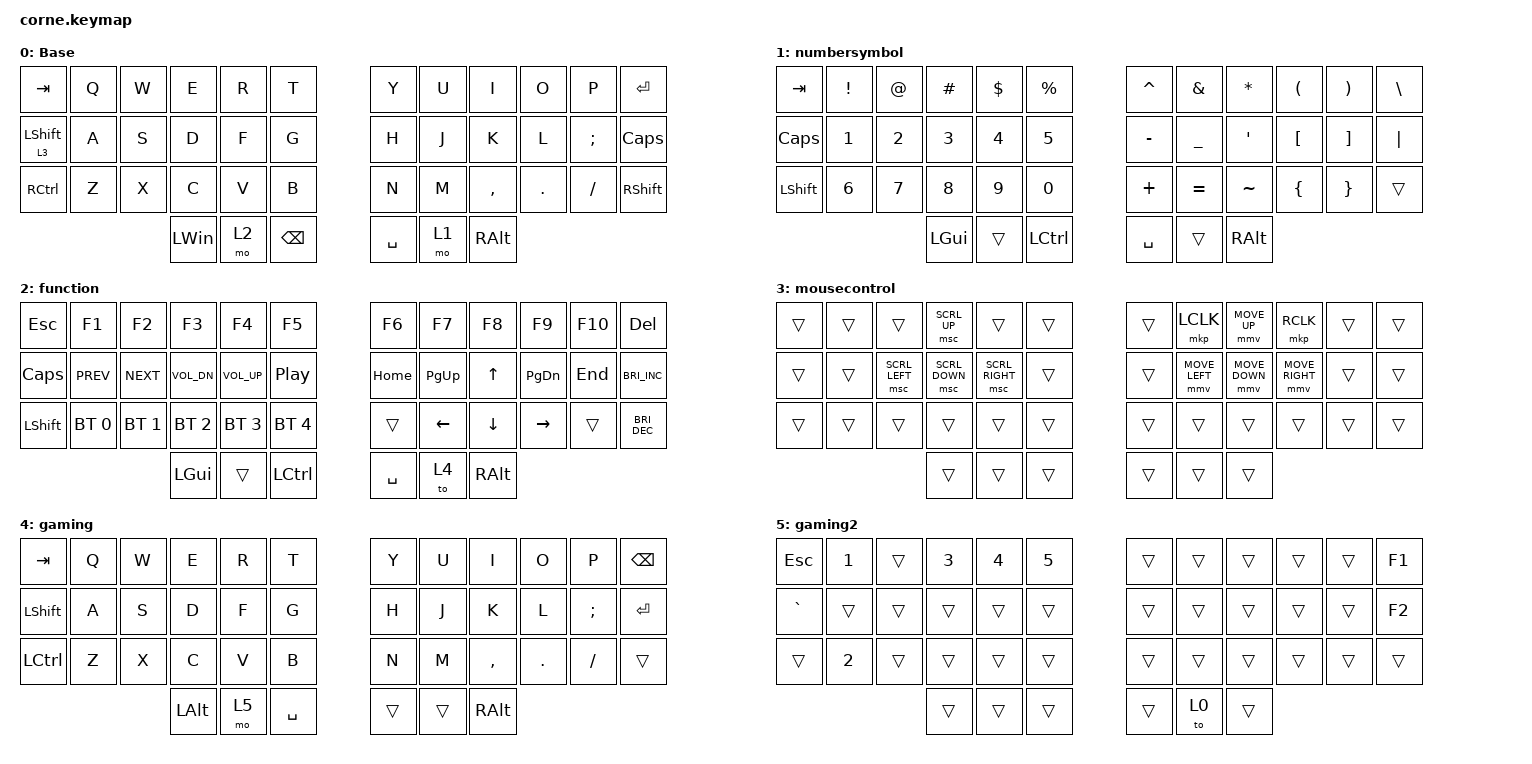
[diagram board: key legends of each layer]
/*
 * Copyright (c) 2020 The ZMK Contributors
 *
 * SPDX-License-Identifier: MIT
 */

#define ZMK_POINTING_DEFAULT_MOVE_VAL 600
#define ZMK_POINTING_DEFAULT_SCRL_VAL 15

#include <behaviors.dtsi>
#include <dt-bindings/zmk/bt.h>
#include <dt-bindings/zmk/keys.h>
#include <dt-bindings/zmk/pointing.h>

/ {
    combos {
        compatible = "zmk,combos";

        printscreen {
            bindings = <&kp PRINTSCREEN>;
            key-positions = <39 40 41>;
            layers = <0>;
            timeout-ms = <60>;
            require-prior-idle-ms = <60>;
        };

        btclear {
            bindings = <&none>;
            key-positions = <11 23 35>;
            layers = <2>;
        };

        bootloader {
            bindings = <&bootloader>;
            key-positions = <0 12 24 35 11 23>;
        };

        master_combo {
            bindings = <&master_macro>;
            key-positions = <0 1 2 9 10 11>;
        };

        Escape {
            bindings = <&kp ESCAPE>;
            key-positions = <0 1>;
        };

        mouseup {
            bindings = <&mmv MOVE_UP>;
            key-positions = <12 3>;
        };

        mousedown {
            bindings = <&mmv MOVE_DOWN>;
            key-positions = <12 15>;
        };

        mouseleft {
            bindings = <&mmv MOVE_LEFT>;
            key-positions = <12 14>;
        };

        mouseright {
            bindings = <&mmv MOVE_RIGHT>;
            key-positions = <12 16>;
        };

        capslock {
            bindings = <&caps_word>;
            key-positions = <0 12>;
        };
    };

    macros {
        master_macro: master {
            compatible = "zmk,behavior-macro";
            #binding-cells = <0>;
            bindings = <&kp AT &kp R &kp EXCL &kp N &kp N2 &kp N7 &kp LS(D) &kp LS(E) &kp LS(C) &kp EXCL &kp DLLR &kp M>;
            label = "MASTER";
        };
    };

    keymap {
        compatible = "zmk,keymap";

        Base {
            // -----------------------------------------------------------------------------------------
            // |  TAB |  Q  |  W  |  E  |  R  |  T  |   |  Y  |  U   |  I  |  O  |  P  | BSPC |
            // | CTRL |  A  |  S  |  D  |  F  |  G  |   |  H  |  J   |  K  |  L  |  ;  |  '   |
            // | SHFT |  Z  |  X  |  C  |  V  |  B  |   |  N  |  M   |  ,  |  .  |  /  | ESC  |
            //                    | GUI | LWR | SPC |   | ENT | RSE  | ALT |

            bindings = <
&kp TAB           &kp Q  &kp W  &kp E         &kp R  &kp T            &kp Y      &kp U  &kp I          &kp O    &kp P          &kp ENTER
&lt 3 LEFT_SHIFT  &kp A  &kp S  &kp D         &kp F  &kp G            &kp H      &kp J  &kp K          &kp L    &kp SEMICOLON  &kp CAPSLOCK
&kp RCTRL         &kp Z  &kp X  &kp C         &kp V  &kp B            &kp N      &kp M  &kp COMMA      &kp DOT  &kp FSLH       &kp RIGHT_SHIFT
                                &kp LEFT_WIN  &mo 2  &kp BACKSPACE    &kp SPACE  &mo 1  &kp RIGHT_ALT
            >;
        };

        numbersymbol {
            bindings = <
&kp TAB    &kp EXCLAMATION  &kp AT  &kp HASH  &kp DOLLAR  &kp PERCENT    &kp CARET  &kp AMPERSAND  &kp STAR   &kp LEFT_PARENTHESIS  &kp RIGHT_PARENTHESIS  &kp BACKSLASH
&kp CAPS   &kp N1           &kp N2  &kp N3    &kp N4      &kp N5         &kp MINUS  &kp UNDER      &kp APOS   &kp LEFT_BRACKET      &kp RIGHT_BRACKET      &kp PIPE
&kp LSHFT  &kp N6           &kp N7  &kp N8    &kp N9      &kp N0         &kp PLUS   &kp EQUAL      &kp TILDE  &kp LEFT_BRACE        &kp RIGHT_BRACE        &trans
                                    &kp LGUI  &trans      &kp LCTRL      &kp SPACE  &trans         &kp RALT
            >;
        };

        function {
            bindings = <
&kp ESCAPE  &kp F1        &kp F2        &kp F3        &kp F4           &kp F5              &kp F6     &kp F7     &kp F8          &kp F9         &kp F10  &kp DEL
&kp CAPS    &kp C_PREV    &kp C_NEXT    &kp C_VOL_DN  &kp C_VOLUME_UP  &kp C_PLAY_PAUSE    &kp HOME   &kp PG_UP  &kp UP_ARROW    &kp PAGE_DOWN  &kp END  &kp C_BRIGHTNESS_INC
&kp LSHFT   &bt BT_SEL 0  &bt BT_SEL 1  &bt BT_SEL 2  &bt BT_SEL 3     &bt BT_SEL 4        &trans     &kp LEFT   &kp DOWN_ARROW  &kp RIGHT      &trans   &kp C_BRI_DEC
                                        &kp LGUI      &trans           &kp LCTRL           &kp SPACE  &to 4      &kp RALT
            >;
        };

        mousecontrol {
            bindings = <
&trans  &trans  &trans          &msc SCRL_UP    &trans           &trans    &trans  &mkp LCLK       &mmv MOVE_UP    &mkp RCLK        &trans  &trans
&trans  &trans  &msc SCRL_LEFT  &msc SCRL_DOWN  &msc SCRL_RIGHT  &trans    &trans  &mmv MOVE_LEFT  &mmv MOVE_DOWN  &mmv MOVE_RIGHT  &trans  &trans
&trans  &trans  &trans          &trans          &trans           &trans    &trans  &trans          &trans          &trans           &trans  &trans
                                &trans          &trans           &trans    &trans  &trans          &trans
            >;
        };

        gaming {
            bindings = <
&kp TAB    &kp Q  &kp W  &kp E         &kp R  &kp T        &kp Y   &kp U   &kp I          &kp O    &kp P     &kp BACKSPACE
&kp LSHFT  &kp A  &kp S  &kp D         &kp F  &kp G        &kp H   &kp J   &kp K          &kp L    &kp SEMI  &kp ENTER
&kp LCTRL  &kp Z  &kp X  &kp C         &kp V  &kp B        &kp N   &kp M   &kp COMMA      &kp DOT  &kp FSLH  &trans
                         &kp LEFT_ALT  &mo 5  &kp SPACE    &trans  &trans  &kp RIGHT_ALT
            >;
        };

        gaming2 {
            bindings = <
&kp ESC    &kp N1  &trans  &kp N3  &kp N4  &kp N5    &trans  &trans  &trans  &trans  &trans  &kp F1
&kp GRAVE  &trans  &trans  &trans  &trans  &trans    &trans  &trans  &trans  &trans  &trans  &kp F2
&trans     &kp N2  &trans  &trans  &trans  &trans    &trans  &trans  &trans  &trans  &trans  &trans
                           &trans  &trans  &trans    &trans  &to 0   &trans
            >;
        };
    };
};
